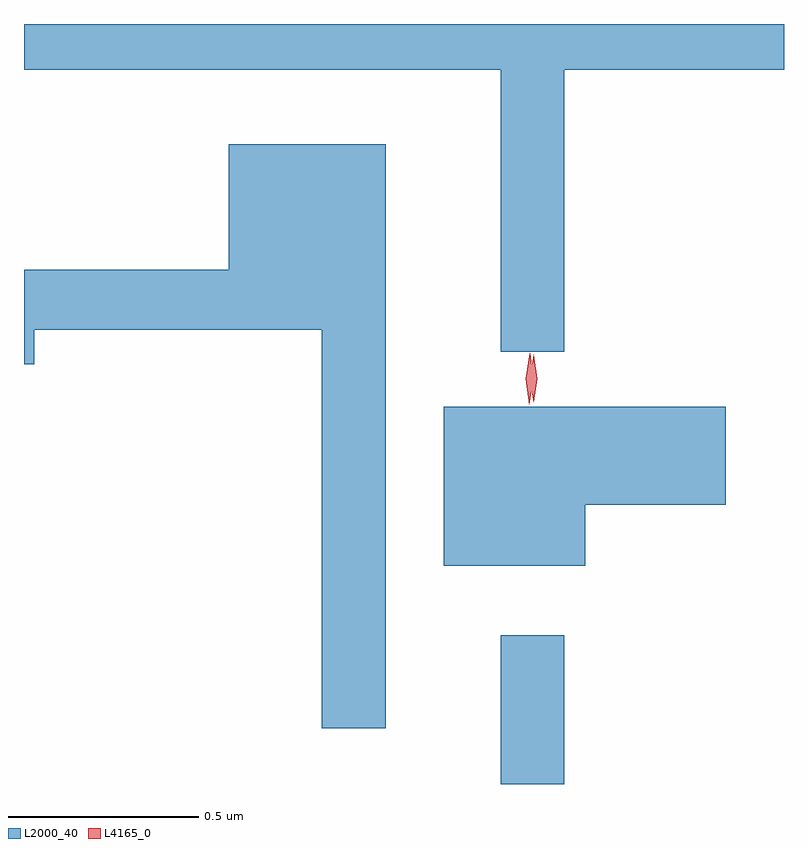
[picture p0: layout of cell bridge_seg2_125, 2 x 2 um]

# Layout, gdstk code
import gdstk
lib = gdstk.Library(unit=1e-6, precision=1e-09)
def R(c, l, rs):  # rectangles x0, y0, x1, y1
    for r in rs: c.add(gdstk.rectangle(r[:2], r[2:], *l))
def P(c, l, *ps):  # polygons
    for p in ps: c.add(gdstk.Polygon(p, *l))
L2000_40 = (2000, 40)
L4165_0 = (4165, 0)

bridge_seg2_125 = lib.new_cell('bridge_seg2_125')
R(bridge_seg2_125, L2000_40, [(998.561,1046.436,998.729,1046.828)])
P(bridge_seg2_125, L2000_40, [(998.729,1048.316),(999.307,1048.316),(999.307,1048.436),(997.307,1048.436),(997.307,1048.316),(998.561,1048.316),(998.561,1047.573),(998.729,1047.573)],
  [(998.259,1048.119),(997.846,1048.119),(997.846,1047.789),(997.307,1047.789),(997.307,1047.541),(997.334,1047.541),(997.334,1047.631),(998.091,1047.631),(998.091,1046.583),(998.259,1046.583)],
  [(998.784,1047.171),(999.154,1047.171),(999.154,1047.429),(998.411,1047.429),(998.411,1047.011),(998.784,1047.011)])
P(bridge_seg2_125, L4165_0, [(998.648,1047.44),(998.648,1047.44),(998.638,1047.503),(998.648,1047.566),(998.648,1047.567),(998.649,1047.566),(998.658,1047.503),(998.649,1047.44)],
  [(998.636,1047.434),(998.636,1047.434),(998.627,1047.502),(998.638,1047.57),(998.638,1047.57),(998.639,1047.57),(998.647,1047.502),(998.637,1047.434)])

lib.write_gds('bridge_seg2_125.gds')
